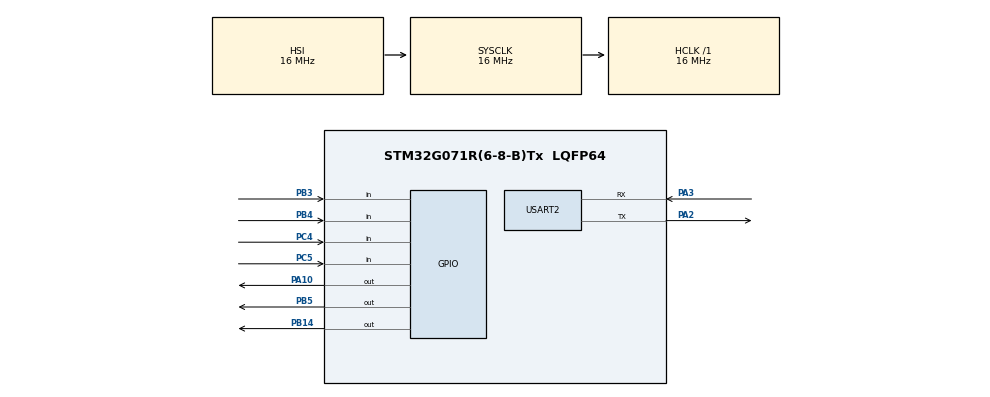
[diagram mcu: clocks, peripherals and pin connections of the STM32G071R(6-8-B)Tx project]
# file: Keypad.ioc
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Mcu.Family=STM32G0
Mcu.Name=STM32G071R(6-8-B)Tx
Mcu.Package=LQFP64
PA10.Signal=GPIO_Output
PA13.Mode=Serial_Wire
PA13.Signal=SYS_SWDIO
PA14-BOOT0.Mode=Serial_Wire
PA14-BOOT0.Signal=SYS_SWCLK
PA2.Mode=Asynchronous
PA2.Signal=USART2_TX
PA3.Mode=Asynchronous
PA3.Signal=USART2_RX
PB14.Signal=GPIO_Output
PB3.Signal=GPIO_Input
PB4.Signal=GPIO_Input
PB5.Signal=GPIO_Output
PC4.Signal=GPIO_Input
PC5.Signal=GPIO_Input
ProjectManager.HeapSize=0x200
ProjectManager.StackSize=0x400
ProjectManager.TargetToolchain=STM32CubeIDE
RCC.AHBFreq_Value=16000000
RCC.CortexFreq_Value=16000000
RCC.EXTERNAL_CLOCK_VALUE=48000
RCC.HCLKFreq_Value=16000000
RCC.HSE_VALUE=8000000
RCC.HSI_VALUE=16000000
RCC.LSE_VALUE=32768
RCC.SYSCLKFreq_VALUE=16000000
RCC.VCOOutputFreq_Value=128000000
USART2.VirtualMode-Asynchronous=VM_ASYNC
board=custom

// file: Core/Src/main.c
/* USER CODE BEGIN Header */
/**
  ******************************************************************************
  * @file           : main.c
  * @brief          : Main program body
  ******************************************************************************
  * @attention
  *
  * Copyright (c) 2025 STMicroelectronics.
  * All rights reserved.
  *
  * This software is licensed under terms that can be found in the LICENSE file
  * in the root directory of this software component.
  * If no LICENSE file comes with this software, it is provided AS-IS.
  *
  ******************************************************************************
  */
/* USER CODE END Header */
#include "main.h"

/* USER CODE BEGIN Includes */
#include <stdio.h>
/* USER CODE END Includes */

/* USER CODE BEGIN PD */
#define BUFFER_LENGTH 64
/* USER CODE END PD */

UART_HandleTypeDef huart2;

/* USER CODE BEGIN PV */
Keypad keypad;
/* USER CODE END PV */

void SystemClock_Config(void);
static void MX_GPIO_Init(void);
static void MX_USART2_UART_Init(void);

int main(void)
{

  /* MCU Configuration--------------------------------------------------------*/

  /* Reset of all peripherals, Initializes the Flash interface and the Systick. */
  HAL_Init();

  /* USER CODE BEGIN Init */

  /* Note that the rows and columns are intermixed. The order
	 from left to right is:
	  COL2 (D6/B14),
	  ROW1 (D5/B4),
	  COL1 (D4/B5),
	  ROW4 (D3/B3),
	  COL3 (D2/A10),
	  ROW3 (D1/C4),
	  ROW2 (D0/C5)
  */

  //Readjusts the order to match with the code

  GPIO_TypeDef *rowPorts[ROWS] = {GPIOB, GPIOC, GPIOC, GPIOB};
  uint16_t rowPins[ROWS]       = {GPIO_PIN_4, GPIO_PIN_5, GPIO_PIN_4, GPIO_PIN_3};

  GPIO_TypeDef *colPorts[COLS] = {GPIOB, GPIOB, GPIOA};
  uint16_t colPins[COLS]       = {GPIO_PIN_5, GPIO_PIN_14, GPIO_PIN_10};

  Keypad_Init(&keypad, rowPorts, rowPins, colPorts, colPins);

  char key;
  /* USER CODE END Init */

  /* Configure the system clock */
  SystemClock_Config();

  /* Initialize all configured peripherals */
  MX_GPIO_Init();
  MX_USART2_UART_Init();
  /* USER CODE BEGIN 2 */
  HAL_UART_Print("Keypad listen start\r\n");
  /* USER CODE END 2 */

  /* Infinite loop */
  /* USER CODE BEGIN WHILE */
  while (1)
  {
//      HAL_GPIO_WritePin(GPIOA, GPIO_PIN_10, GPIO_PIN_RESET);
//
//	  HAL_Delay(200);
//	  if (HAL_GPIO_ReadPin(GPIOC, GPIO_PIN_5)== GPIO_PIN_SET){
//		  HAL_UART_Print("PIN HIGH!\r\n");
//	  }
//	  else if(HAL_GPIO_ReadPin(GPIOC, GPIO_PIN_5)== GPIO_PIN_RESET){
//		  HAL_UART_Print("PIN LOW!\r\n");
//	  }
//	  HAL_Delay(200);

	  key = Keypad_Scan(&keypad);
	  if (key != '\0') {
          char buffer[BUFFER_LENGTH]; // Buffer to hold the message
          sprintf(buffer, "Key pressed: %c\r\n", key); // Format the message
          HAL_UART_Print(buffer); // Use HAL_UART_Print instead of printf
          HAL_Delay(200);// debounce delay
	  }
    /* USER CODE END WHILE */

  }
}

void SystemClock_Config(void)
{
  RCC_OscInitTypeDef RCC_OscInitStruct = {0};
  RCC_ClkInitTypeDef RCC_ClkInitStruct = {0};

  /** Configure the main internal regulator output voltage
  */
  HAL_PWREx_ControlVoltageScaling(PWR_REGULATOR_VOLTAGE_SCALE1);

  /** Initializes the RCC Oscillators according to the specified parameters
  * in the RCC_OscInitTypeDef structure.
  */
  RCC_OscInitStruct.OscillatorType = RCC_OSCILLATORTYPE_HSI;
  RCC_OscInitStruct.HSIState = RCC_HSI_ON;
  RCC_OscInitStruct.HSIDiv = RCC_HSI_DIV1;
  RCC_OscInitStruct.HSICalibrationValue = RCC_HSICALIBRATION_DEFAULT;
  RCC_OscInitStruct.PLL.PLLState = RCC_PLL_NONE;
  if (HAL_RCC_OscConfig(&RCC_OscInitStruct) != HAL_OK)
  {
    Error_Handler();
  }

  /** Initializes the CPU, AHB and APB buses clocks
  */
  RCC_ClkInitStruct.ClockType = RCC_CLOCKTYPE_HCLK|RCC_CLOCKTYPE_SYSCLK
                              |RCC_CLOCKTYPE_PCLK1;
  RCC_ClkInitStruct.SYSCLKSource = RCC_SYSCLKSOURCE_HSI;
  RCC_ClkInitStruct.AHBCLKDivider = RCC_SYSCLK_DIV1;
  RCC_ClkInitStruct.APB1CLKDivider = RCC_HCLK_DIV1;

  if (HAL_RCC_ClockConfig(&RCC_ClkInitStruct, FLASH_LATENCY_0) != HAL_OK)
  {
    Error_Handler();
  }
}

static void MX_USART2_UART_Init(void)
{

  huart2.Instance = USART2;
  huart2.Init.BaudRate = 115200;
  huart2.Init.WordLength = UART_WORDLENGTH_8B;
  huart2.Init.StopBits = UART_STOPBITS_1;
  huart2.Init.Parity = UART_PARITY_NONE;
  huart2.Init.Mode = UART_MODE_TX_RX;
  huart2.Init.HwFlowCtl = UART_HWCONTROL_NONE;
  huart2.Init.OverSampling = UART_OVERSAMPLING_16;
  huart2.Init.OneBitSampling = UART_ONE_BIT_SAMPLE_DISABLE;
  huart2.Init.ClockPrescaler = UART_PRESCALER_DIV1;
  huart2.AdvancedInit.AdvFeatureInit = UART_ADVFEATURE_NO_INIT;
  if (HAL_UART_Init(&huart2) != HAL_OK)
  {
    Error_Handler();
  }
  if (HAL_UARTEx_SetTxFifoThreshold(&huart2, UART_TXFIFO_THRESHOLD_1_8) != HAL_OK)
  {
    Error_Handler();
  }
  if (HAL_UARTEx_SetRxFifoThreshold(&huart2, UART_RXFIFO_THRESHOLD_1_8) != HAL_OK)
  {
    Error_Handler();
  }
  if (HAL_UARTEx_DisableFifoMode(&huart2) != HAL_OK)
  {
    Error_Handler();
  }

}

static void MX_GPIO_Init(void)
{
  GPIO_InitTypeDef GPIO_InitStruct = {0};

  /* GPIO Ports Clock Enable */
  __HAL_RCC_GPIOA_CLK_ENABLE();
  __HAL_RCC_GPIOC_CLK_ENABLE();
  __HAL_RCC_GPIOB_CLK_ENABLE();

  /*Configure GPIO pin Output Level */
  HAL_GPIO_WritePin(GPIOB, GPIO_PIN_14|GPIO_PIN_5, GPIO_PIN_RESET);

  /*Configure GPIO pin Output Level */
  HAL_GPIO_WritePin(GPIOA, GPIO_PIN_10, GPIO_PIN_RESET);

  /*Configure GPIO pins : PC4 PC5 */
  GPIO_InitStruct.Pin = GPIO_PIN_4|GPIO_PIN_5;
  GPIO_InitStruct.Mode = GPIO_MODE_INPUT;
  GPIO_InitStruct.Pull = GPIO_PULLUP;
  HAL_GPIO_Init(GPIOC, &GPIO_InitStruct);

  /*Configure GPIO pins : PB14 PB5 */
  GPIO_InitStruct.Pin = GPIO_PIN_14|GPIO_PIN_5;
  GPIO_InitStruct.Mode = GPIO_MODE_OUTPUT_PP;
  GPIO_InitStruct.Pull = GPIO_NOPULL;
  GPIO_InitStruct.Speed = GPIO_SPEED_FREQ_LOW;
  HAL_GPIO_Init(GPIOB, &GPIO_InitStruct);

  /*Configure GPIO pin : PA10 */
  GPIO_InitStruct.Pin = GPIO_PIN_10;
  GPIO_InitStruct.Mode = GPIO_MODE_OUTPUT_PP;
  GPIO_InitStruct.Pull = GPIO_NOPULL;
  GPIO_InitStruct.Speed = GPIO_SPEED_FREQ_LOW;
  HAL_GPIO_Init(GPIOA, &GPIO_InitStruct);

  /*Configure GPIO pins : PB3 PB4 */
  GPIO_InitStruct.Pin = GPIO_PIN_3|GPIO_PIN_4;
  GPIO_InitStruct.Mode = GPIO_MODE_INPUT;
  GPIO_InitStruct.Pull = GPIO_PULLUP;
  HAL_GPIO_Init(GPIOB, &GPIO_InitStruct);

}

/* USER CODE BEGIN 4 */
void HAL_UART_Print(char* str) {
    // Send the string over UART
    HAL_UART_Transmit(&huart2, (uint8_t*)str, strlen(str), HAL_MAX_DELAY);
}
/* USER CODE END 4 */

void Error_Handler(void)
{
  __disable_irq();
  while (1)
  {
  }
}
